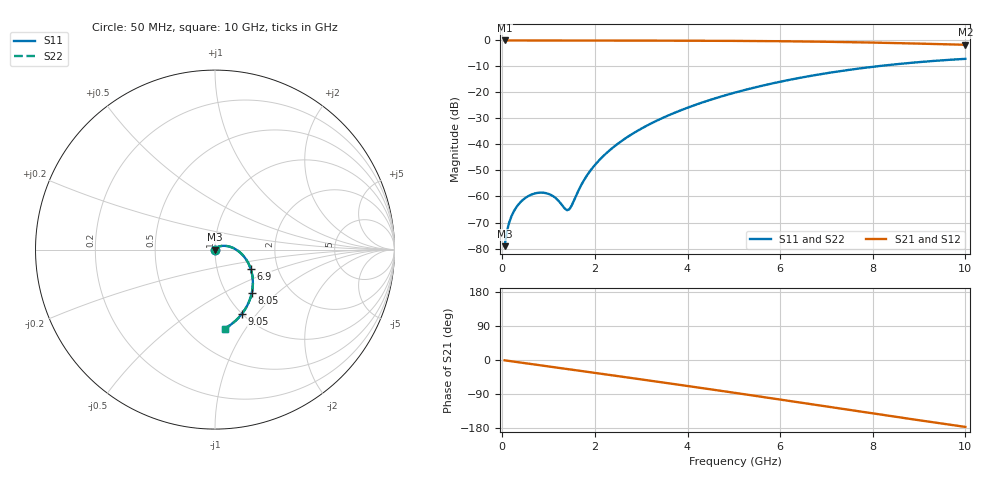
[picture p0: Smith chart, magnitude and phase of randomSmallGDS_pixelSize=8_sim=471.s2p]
! freq	dB(S11)	phase(S11)	dB(S12)	phase(S12)
!  dB(S21)	phase(S21)	dB(S22)	phase(S22)
!S-par simulation data
#  GHz  S  DB  R 50
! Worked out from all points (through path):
!   200 points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, 50 MHz to 10 GHz, reference 50 ohm
!   highest |S21| = 0.00 dB at 50 MHz (marker M1); lowest = -1.7 dB at 10 GHz (marker M2)
!   group delay of S21, straight-line fit = 49.3 ps
!   lowest |S11| = -79.1 dB at 50 MHz (marker M3), VSWR 1.00, Z = 50 - j0.0108 ohm
!   |S11| at or under -10 dB: start of sweep to 8.065 GHz
!   |S22| runs from -79.1 to -7.1 dB; largest |S21 - S12| = 0
!   S11 on the Smith chart (normalised r, x): 50 MHz: 1.00, -0.00; 6.9 GHz: 1.45, -0.33; 8.05 GHz: 1.31, -0.69; 9.05 GHz: 1.00, -0.84; 10 GHz: 0.74, -0.81
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0.05  -79.10 -76.0  -0.00 -0.9  -0.00 -0.9  -79.10 -76.0
0.1  -73.34 -84.7  -0.00 -1.7  -0.00 -1.7  -73.34 -84.8
0.2  -67.51 -91.2  -0.00 -3.4  -0.00 -3.4  -67.51 -91.2
0.3  -64.23 -95.1  -0.00 -5.1  -0.00 -5.1  -64.23 -95.1
0.45  -61.22 -100.0  -0.01 -7.7  -0.01 -7.7  -61.22 -100.1
0.7  -58.84 -108.1  -0.01 -11.9  -0.01 -11.9  -58.84 -108.3
0.95  -58.74 -118.4  -0.02 -16.2  -0.02 -16.2  -58.73 -118.7
1.15  -60.57 -132.2  -0.02 -19.6  -0.02 -19.6  -60.53 -132.8
1.4  -65.28 170.0  -0.03 -23.8  -0.03 -23.8  -65.05 169.6
1.5  -63.42 127.9  -0.03 -25.5  -0.03 -25.5  -63.22 128.5
1.75  -54.16 83.8  -0.03 -29.8  -0.03 -29.8  -54.11 84.5
2.05  -46.86 68.0  -0.04 -34.9  -0.04 -34.9  -46.85 68.4
2.4  -41.02 57.5  -0.04 -40.8  -0.04 -40.8  -41.01 57.7
2.85  -35.47 47.0  -0.05 -48.6  -0.05 -48.6  -35.47 47.2
3.4  -30.30 35.9  -0.07 -58.1  -0.07 -58.1  -30.30 36.1
5.05  -19.92 5.2  -0.17 -87.2  -0.17 -87.2  -19.92 5.3
6.7  -13.49 -24.9  -0.43 -117.1  -0.43 -117.1  -13.49 -24.8
6.9  -12.89 -28.6  -0.48 -120.8  -0.48 -120.8  -12.89 -28.5
8.05  -10.03 -49.4  -0.84 -141.8  -0.84 -141.8  -10.03 -49.3
8.35  -9.43 -54.7  -0.95 -147.3  -0.95 -147.3  -9.43 -54.6
9.05  -8.25 -67.0  -1.24 -159.9  -1.24 -159.9  -8.25 -66.9
10  -7.07 -83.1  -1.66 -176.6  -1.66 -176.6  -7.07 -83.0
